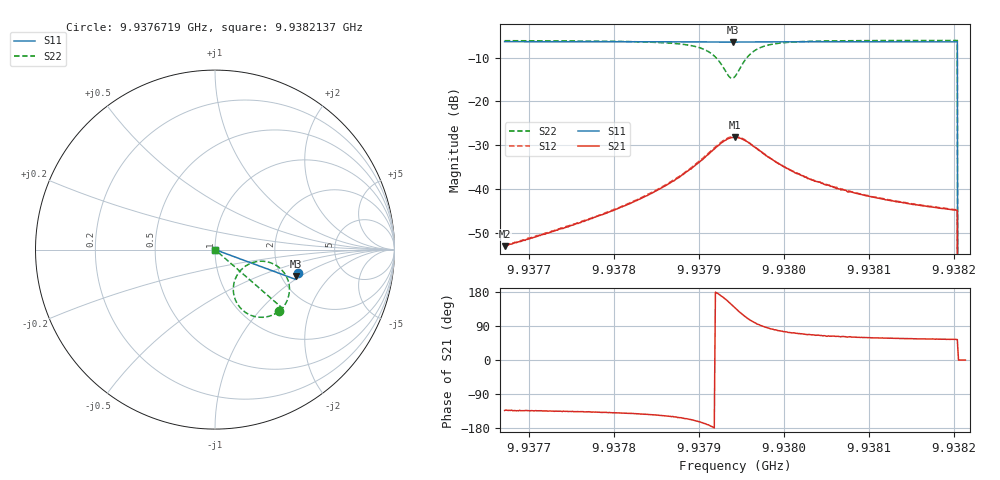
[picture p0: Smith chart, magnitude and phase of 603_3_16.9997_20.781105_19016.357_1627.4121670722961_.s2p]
#  HZ  S  RI  R  50.00
! Rohde & Schwarz Vector Network Analyzer
! Rohde-Schwarz,ZNB20-2Port,1311601062101988,3.16
! Created: UTC 3/20/2024, 11:19:07 PM
! freq[Hz]  re:S11  im:S11  re:S21  im:S21  re:S12  im:S12  re:S22  im:S22
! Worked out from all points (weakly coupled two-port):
!   401 points, 9.9376719 GHz to 9.9382137 GHz, reference 50 ohm
!   highest |S21| = -28.17 dB at 9.9379428 GHz (marker M1); lowest = -53.1 dB at 9.9376719 GHz (marker M2)
!   lowest |S11| = -6.4 dB at 9.9379401 GHz (marker M3), VSWR 2.82, Z = 120 - j46 ohm
!   |S11| at or under -10 dB: 9.9382043 GHz to end of sweep
!   |S22| runs from - to -6.1 dB; largest |S21 - S12| = 0.0018
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9.93767186e9  0.4635 -0.1327  -0.00152 -0.00162  -0.00156 -0.00163  0.3551 -0.3443
9.93776262e9  0.461 -0.1388  -0.00307 -0.00292  -0.00313 -0.0029  0.3367 -0.3563
9.93780733e9  0.4597 -0.1419  -0.00467 -0.00393  -0.00479 -0.00392  0.3201 -0.3647
9.93785339e9  0.4583 -0.1453  -0.00819 -0.00555  -0.00845 -0.00553  0.2871 -0.3746
9.93788455e9  0.4569 -0.1475  -0.014 -0.00655  -0.0142 -0.00642  0.2388 -0.3761
9.93790758e9  0.4554 -0.149  -0.0225 -0.00482  -0.0234 -0.00447  0.1697 -0.3499
9.93791842e9  0.454 -0.1492  -0.0284 -0.000372  -0.0295 0.000297  0.1268 -0.3058
9.9379279e9  0.4533 -0.149  -0.0333 0.00755  -0.034 0.00885  0.1024 -0.2332
9.93793603e9  0.4527 -0.1483  -0.0334 0.0179  -0.0336 0.0196  0.1187 -0.1507
9.93794009e9  0.4526 -0.1479  -0.0311 0.0231  -0.031 0.0248  0.1454 -0.1129
9.9379428e9  0.4529 -0.1477  -0.0289 0.0263  -0.0283 0.0279  0.1693 -0.0924
9.93794958e9  0.4535 -0.1473  -0.0211 0.0314  -0.0203 0.0326  0.239 -0.066
9.9379577e9  0.4544 -0.1475  -0.0115 0.0325  -0.0105 0.0332  0.315 -0.0753
9.93797125e9  0.4554 -0.1488  -0.00145 0.0274  -0.0006 0.0277  0.3856 -0.1302
9.9379848e9  0.4557 -0.1501  0.00304 0.022  0.00361 0.0221  0.4094 -0.1805
9.93800241e9  0.4556 -0.1519  0.00476 0.0168  0.00518 0.0168  0.4148 -0.2243
9.93803357e9  0.4549 -0.1544  0.00504 0.0116  0.00537 0.0115  0.4082 -0.2665
9.93806473e9  0.454 -0.1569  0.00466 0.00886  0.00502 0.00893  0.3998 -0.2886
9.93812434e9  0.4525 -0.161  0.004 0.00625  0.00416 0.00624  0.3872 -0.311
9.93820155e9  0.4504 -0.1661  0.00336 0.00467  0.00347 0.00468  0.3759 -0.326
9.93820833e9  0 0  0 0  0 0  0 0
9.93821375e9  0 0  0 0  0 0  0 0
